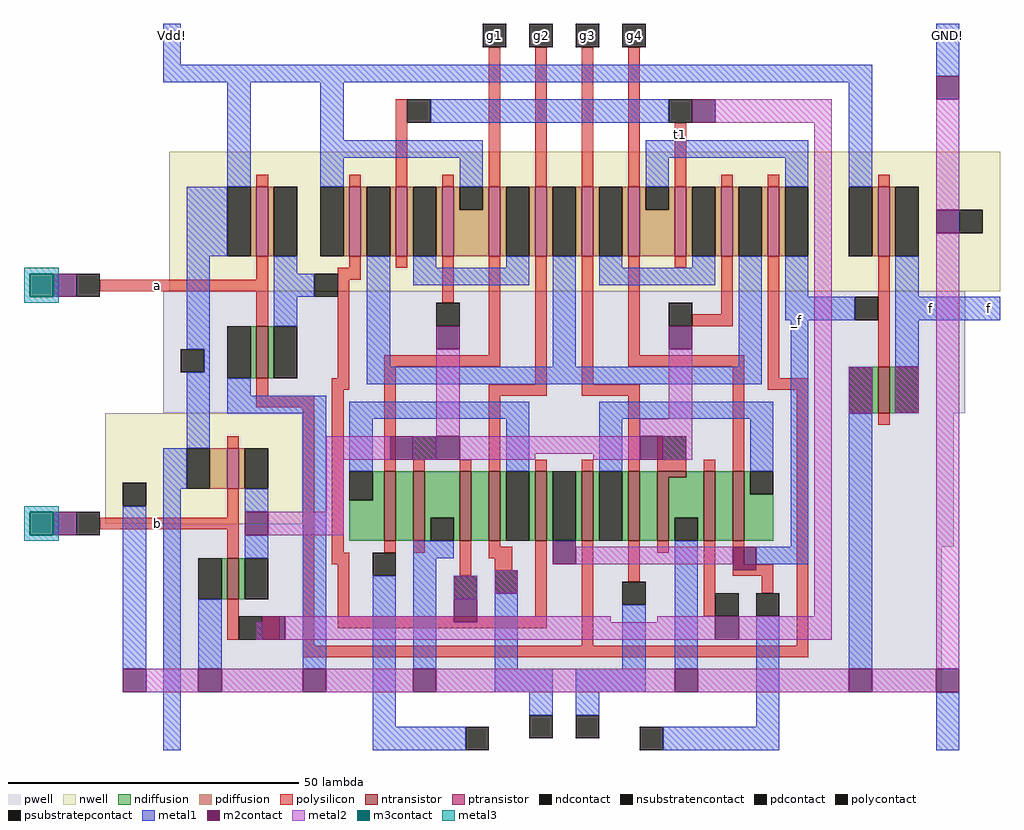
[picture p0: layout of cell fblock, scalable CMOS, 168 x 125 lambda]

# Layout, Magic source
magic
tech scmos
<< nwell >>
rect -58 -30 85 -6
rect -69 -70 -35 -51
<< pwell >>
rect -59 -51 79 -30
rect -33 -70 77 -51
rect -59 -74 77 -70
rect -59 -99 75 -74
<< ntransistor >>
rect -43 -45 -41 -36
rect -48 -83 -46 -76
rect -21 -73 -19 -61
rect -16 -73 -14 -61
rect -8 -73 -6 -61
rect -3 -73 -1 -61
rect 5 -73 7 -61
rect 13 -73 15 -61
rect 21 -73 23 -61
rect 26 -62 31 -61
rect 26 -73 28 -62
rect 34 -73 36 -61
rect 39 -73 41 -61
rect 64 -51 66 -43
<< ptransistor >>
rect -43 -24 -41 -12
rect -27 -24 -25 -12
rect -19 -24 -17 -12
rect -11 -24 -9 -12
rect -3 -24 -1 -12
rect 5 -24 7 -12
rect 13 -24 15 -12
rect 21 -24 23 -12
rect 29 -24 31 -12
rect 37 -24 39 -12
rect 45 -24 47 -12
rect 64 -24 66 -12
rect -48 -64 -46 -57
<< ndiffusion >>
rect -44 -45 -43 -36
rect -41 -45 -40 -36
rect -49 -83 -48 -76
rect -46 -83 -45 -76
rect -23 -66 -21 -61
rect -27 -73 -21 -66
rect -19 -73 -16 -61
rect -14 -69 -8 -61
rect -14 -73 -13 -69
rect -9 -73 -8 -69
rect -6 -73 -3 -61
rect -1 -73 0 -61
rect 4 -73 5 -61
rect 7 -73 8 -61
rect 12 -73 13 -61
rect 15 -73 16 -61
rect 20 -73 21 -61
rect 23 -73 26 -61
rect 31 -62 34 -61
rect 28 -69 34 -62
rect 28 -73 29 -69
rect 33 -73 34 -69
rect 36 -73 39 -61
rect 41 -65 42 -61
rect 41 -73 46 -65
rect 63 -51 64 -43
rect 66 -51 67 -43
<< pdiffusion >>
rect -44 -24 -43 -12
rect -41 -24 -40 -12
rect -28 -24 -27 -12
rect -25 -24 -24 -12
rect -20 -24 -19 -12
rect -17 -24 -16 -12
rect -12 -24 -11 -12
rect -9 -16 -8 -12
rect -4 -16 -3 -12
rect -9 -24 -3 -16
rect -1 -24 0 -12
rect 4 -24 5 -12
rect 7 -24 8 -12
rect 12 -24 13 -12
rect 15 -24 16 -12
rect 20 -24 21 -12
rect 23 -16 24 -12
rect 28 -16 29 -12
rect 23 -24 29 -16
rect 31 -24 32 -12
rect 36 -24 37 -12
rect 39 -24 40 -12
rect 44 -24 45 -12
rect 47 -24 48 -12
rect 63 -24 64 -12
rect 66 -24 67 -12
rect -51 -64 -48 -57
rect -46 -64 -45 -57
<< ndcontact >>
rect -48 -45 -44 -36
rect -40 -45 -36 -36
rect -53 -83 -49 -76
rect -45 -83 -41 -76
rect -27 -66 -23 -61
rect -13 -73 -9 -69
rect 0 -73 4 -61
rect 8 -73 12 -61
rect 16 -73 20 -61
rect 29 -73 33 -69
rect 42 -65 46 -61
rect 59 -51 63 -43
rect 67 -51 71 -43
<< pdcontact >>
rect -48 -24 -44 -12
rect -40 -24 -36 -12
rect -32 -24 -28 -12
rect -24 -24 -20 -12
rect -16 -24 -12 -12
rect -8 -16 -4 -12
rect 0 -24 4 -12
rect 8 -24 12 -12
rect 16 -24 20 -12
rect 24 -16 28 -12
rect 32 -24 36 -12
rect 40 -24 44 -12
rect 48 -24 52 -12
rect 59 -24 63 -12
rect 67 -24 71 -12
rect -55 -64 -51 -57
rect -45 -64 -41 -57
<< psubstratepcontact >>
rect -56 -44 -52 -40
<< nsubstratencontact >>
rect 78 -20 82 -16
rect -66 -67 -62 -63
<< polysilicon >>
rect -43 -12 -41 -10
rect -27 -12 -25 -10
rect -19 -12 -17 3
rect -11 -12 -9 -10
rect -3 -12 -1 12
rect 5 -12 7 12
rect 13 -12 15 12
rect 21 -12 23 12
rect 29 -12 31 -1
rect 37 -12 39 -10
rect 45 -12 47 -10
rect 64 -12 66 -10
rect -43 -28 -41 -24
rect -27 -26 -25 -24
rect -19 -26 -17 -24
rect -70 -30 -41 -28
rect -43 -36 -41 -30
rect -29 -28 -25 -26
rect -29 -45 -27 -28
rect -11 -32 -9 -24
rect -3 -41 -1 -24
rect -43 -48 -41 -45
rect -30 -47 -27 -45
rect -21 -43 -1 -41
rect -43 -50 -33 -48
rect -48 -57 -46 -55
rect -48 -69 -46 -64
rect -70 -71 -46 -69
rect -48 -76 -46 -71
rect -48 -90 -46 -83
rect -42 -90 -39 -86
rect -35 -91 -33 -50
rect -30 -75 -28 -47
rect -21 -61 -19 -43
rect 5 -46 7 -24
rect -3 -48 7 -46
rect 13 -46 15 -24
rect 21 -41 23 -24
rect 29 -26 31 -24
rect 37 -34 39 -24
rect 32 -36 39 -34
rect 21 -43 41 -41
rect 13 -48 23 -46
rect -16 -61 -14 -59
rect -8 -61 -6 -59
rect -3 -61 -1 -48
rect 5 -61 7 -59
rect 13 -61 15 -59
rect 21 -61 23 -48
rect 26 -59 27 -55
rect 26 -61 31 -59
rect 34 -61 36 -59
rect 39 -61 41 -43
rect 45 -45 47 -24
rect 64 -43 66 -24
rect 45 -47 52 -45
rect -21 -75 -19 -73
rect -16 -75 -14 -73
rect -30 -77 -27 -75
rect -29 -86 -27 -77
rect -8 -79 -6 -73
rect -3 -74 -1 -73
rect -3 -76 1 -74
rect -2 -78 1 -76
rect 5 -86 7 -73
rect -29 -88 7 -86
rect 13 -91 15 -73
rect 21 -80 23 -73
rect 26 -75 28 -73
rect 34 -86 36 -73
rect 39 -77 41 -73
rect 39 -79 46 -77
rect 44 -82 46 -79
rect 50 -91 52 -47
rect 64 -53 66 -51
rect -35 -93 52 -91
<< polycontact >>
rect -4 12 0 16
rect 4 12 8 16
rect 12 12 16 16
rect 20 12 24 16
rect -17 -1 -13 3
rect 28 -1 32 3
rect -74 -31 -70 -27
rect -33 -31 -29 -27
rect -12 -36 -8 -32
rect -74 -72 -70 -68
rect -46 -90 -42 -86
rect 28 -36 32 -32
rect -16 -59 -12 -55
rect 27 -59 31 -55
rect 60 -35 64 -31
rect -23 -79 -19 -75
rect -9 -83 -5 -79
rect -2 -82 2 -78
rect 20 -84 24 -80
rect 36 -86 40 -82
rect 43 -86 47 -82
rect -7 -109 -3 -105
rect 4 -107 8 -103
rect 12 -107 16 -103
rect 23 -109 27 -105
<< metal1 >>
rect -59 9 -56 16
rect -59 6 63 9
rect -48 -12 -44 6
rect -32 -4 -28 6
rect -13 -1 28 3
rect -32 -7 -4 -4
rect -32 -12 -28 -7
rect -8 -12 -4 -7
rect 24 -7 52 -4
rect 24 -12 28 -7
rect 48 -12 52 -7
rect -55 -24 -48 -12
rect -55 -40 -51 -24
rect -40 -27 -36 -24
rect -40 -31 -33 -27
rect -40 -36 -36 -31
rect -52 -44 -51 -40
rect -55 -57 -51 -44
rect -24 -43 -20 -24
rect -16 -26 -12 -24
rect 0 -26 4 -24
rect -16 -29 4 -26
rect 8 -43 12 -24
rect 16 -26 20 -24
rect 32 -26 36 -24
rect 16 -29 36 -26
rect 40 -43 44 -24
rect 59 -12 63 6
rect 74 7 78 16
rect 48 -31 52 -24
rect 67 -31 71 -24
rect 48 -35 60 -31
rect 67 -35 85 -31
rect -48 -48 -44 -45
rect -24 -46 44 -43
rect -48 -51 -31 -48
rect -66 -95 -62 -67
rect -59 -64 -55 -57
rect -59 -109 -56 -64
rect -45 -68 -41 -64
rect -45 -76 -41 -72
rect -53 -95 -49 -83
rect -35 -95 -31 -51
rect -27 -52 4 -49
rect -27 -61 -23 -52
rect 0 -61 4 -52
rect 16 -52 46 -49
rect 16 -61 20 -52
rect 42 -61 46 -52
rect -23 -105 -19 -79
rect -16 -76 -9 -73
rect -16 -95 -12 -76
rect -2 -95 2 -82
rect 20 -95 24 -84
rect -2 -99 8 -95
rect 4 -103 8 -99
rect -23 -109 -7 -105
rect 12 -99 24 -95
rect 29 -95 33 -73
rect 49 -74 52 -35
rect 67 -43 71 -35
rect 43 -77 52 -74
rect 12 -103 16 -99
rect 43 -105 47 -86
rect 59 -95 63 -51
rect 27 -109 47 -105
rect 74 -109 78 -99
<< m2contact >>
rect 32 -1 36 3
rect -78 -31 -74 -27
rect -12 -40 -8 -36
rect 28 -40 32 -36
rect 74 3 78 7
rect 74 -20 78 -16
rect -78 -72 -74 -68
rect -66 -99 -62 -95
rect -45 -72 -41 -68
rect -42 -90 -38 -86
rect -53 -99 -49 -95
rect -20 -59 -16 -55
rect -12 -59 -8 -55
rect 23 -59 27 -55
rect -35 -99 -31 -95
rect 8 -77 12 -73
rect -9 -87 -5 -83
rect -16 -99 -12 -95
rect 39 -78 43 -74
rect 36 -90 40 -86
rect 29 -99 33 -95
rect 59 -99 63 -95
rect 74 -99 78 -95
<< metal2 >>
rect 36 -1 56 3
rect -12 -55 -8 -40
rect 28 -52 32 -40
rect 23 -55 32 -52
rect -31 -59 -20 -55
rect -16 -59 -12 -55
rect -8 -58 23 -55
rect -8 -59 5 -58
rect 15 -59 23 -58
rect 27 -59 32 -55
rect -31 -68 -28 -59
rect -41 -72 -28 -68
rect 12 -77 39 -74
rect -9 -83 -5 -79
rect -2 -82 2 -78
rect -43 -90 -42 -87
rect -38 -87 -9 -86
rect 53 -86 56 -1
rect 74 -16 78 3
rect 59 -51 63 -43
rect 67 -51 71 -43
rect -5 -87 18 -86
rect 26 -87 36 -86
rect -38 -90 36 -87
rect 40 -90 56 -86
rect 74 -95 78 -20
rect -62 -99 -53 -95
rect -49 -99 -35 -95
rect -31 -99 -16 -95
rect -12 -99 29 -95
rect 33 -99 59 -95
rect 63 -99 74 -95
<< m3contact >>
rect -82 -31 -78 -27
rect -82 -72 -78 -68
<< metal3 >>
rect -83 -27 -77 -26
rect -83 -31 -82 -27
rect -78 -31 -77 -27
rect -83 -32 -77 -31
rect -83 -68 -77 -67
rect -83 -72 -82 -68
rect -78 -72 -77 -68
rect -83 -73 -77 -72
<< labels >>
rlabel metal1 50 -35 50 -35 1 _f
rlabel polysilicon -60 -29 -60 -29 1 a
rlabel polysilicon 30 -3 30 -3 1 t1
rlabel metal1 73 -33 73 -33 7 f
rlabel polysilicon -60 -70 -60 -70 3 b
rlabel polycontact -2 14 -2 14 1 g1
rlabel polycontact 6 14 6 14 1 g2
rlabel polycontact 14 14 14 14 1 g3
rlabel polycontact 22 14 22 14 1 g4
rlabel metal1 -59 12 -56 16 1 Vdd!
rlabel metal1 74 12 78 16 1 GND!
rlabel metal1 81 -35 85 -31 7 f
<< end >>
